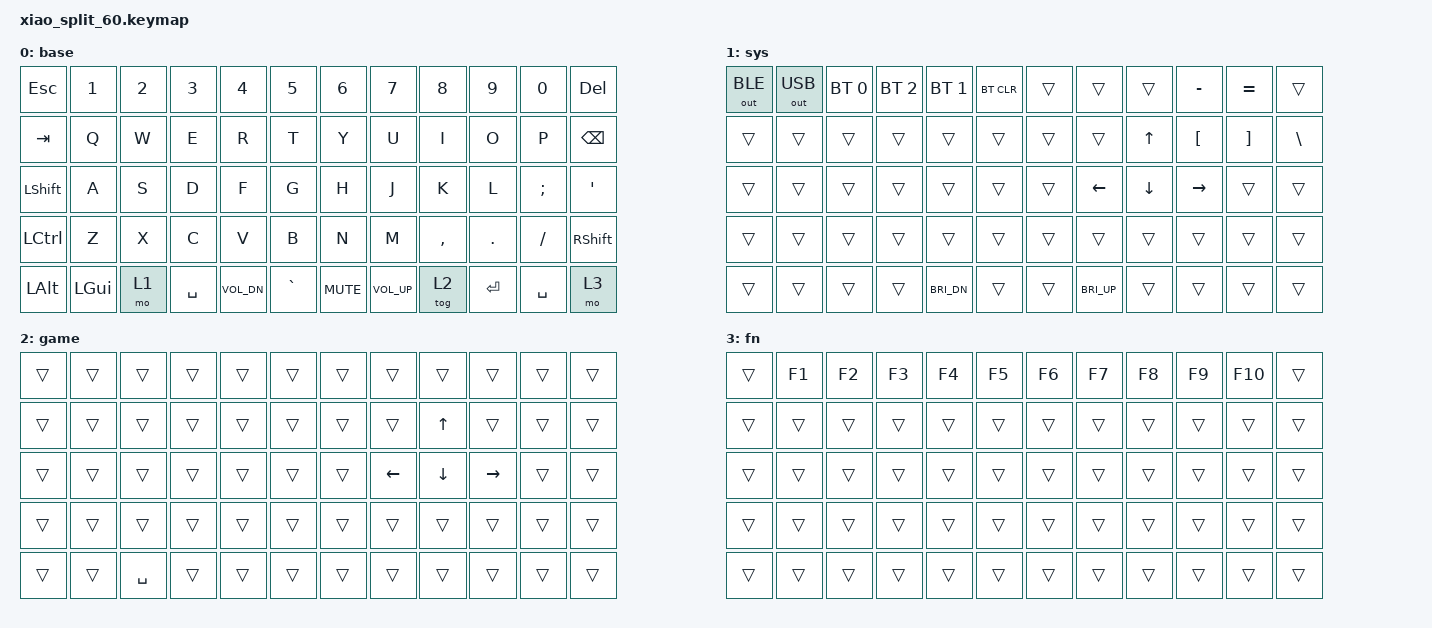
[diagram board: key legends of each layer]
// GENERATED FILE -- edit layout.txt and run generate-keymap.py instead.
#include <behaviors.dtsi>
#include <dt-bindings/zmk/keys.h>
#include <dt-bindings/zmk/bt.h>
#include <dt-bindings/zmk/outputs.h>

/ {
    keymap {
        compatible = "zmk,keymap";

        base {
            bindings = <
&kp ESC &kp N1 &kp N2 &kp N3 &kp N4 &kp N5 &kp N6 &kp N7 &kp N8 &kp N9 &kp N0 &kp DEL
&kp TAB &kp Q &kp W &kp E &kp R &kp T &kp Y &kp U &kp I &kp O &kp P &kp BSPC
&kp LSHFT &kp A &kp S &kp D &kp F &kp G &kp H &kp J &kp K &kp L &kp SEMI &kp SQT
&kp LCTRL &kp Z &kp X &kp C &kp V &kp B &kp N &kp M &kp COMMA &kp DOT &kp FSLH &kp RSHFT
&kp LALT &kp LGUI &mo 1 &kp SPACE &kp C_VOL_DN &kp GRAVE &kp C_MUTE &kp C_VOL_UP &tog 2 &kp ENTER &kp SPACE &mo 3
            >;
        };

        sys {
            bindings = <
&out OUT_BLE &out OUT_USB &bt BT_SEL 0 &bt BT_SEL 2 &bt BT_SEL 1 &bt BT_CLR &trans &trans &trans &kp MINUS &kp EQUAL &trans
&trans &trans &trans &trans &trans &trans &trans &trans &kp UP &kp LBKT &kp RBKT &kp BSLH
&trans &trans &trans &trans &trans &trans &trans &kp LEFT &kp DOWN &kp RIGHT &trans &trans
&trans &trans &trans &trans &trans &trans &trans &trans &trans &trans &trans &trans
&trans &trans &trans &trans &kp C_BRI_DN &trans &trans &kp C_BRI_UP &trans &trans &trans &trans
            >;
        };

        game {
            bindings = <
&trans &trans &trans &trans &trans &trans &trans &trans &trans &trans &trans &trans
&trans &trans &trans &trans &trans &trans &trans &trans &kp UP &trans &trans &trans
&trans &trans &trans &trans &trans &trans &trans &kp LEFT &kp DOWN &kp RIGHT &trans &trans
&trans &trans &trans &trans &trans &trans &trans &trans &trans &trans &trans &trans
&trans &trans &kp SPACE &trans &trans &trans &trans &trans &trans &trans &trans &trans
            >;
        };

        fn {
            bindings = <
&trans &kp F1 &kp F2 &kp F3 &kp F4 &kp F5 &kp F6 &kp F7 &kp F8 &kp F9 &kp F10 &trans
&trans &trans &trans &trans &trans &trans &trans &trans &trans &trans &trans &trans
&trans &trans &trans &trans &trans &trans &trans &trans &trans &trans &trans &trans
&trans &trans &trans &trans &trans &trans &trans &trans &trans &trans &trans &trans
&trans &trans &trans &trans &trans &trans &trans &trans &trans &trans &trans &trans
            >;
        };
    };
};
